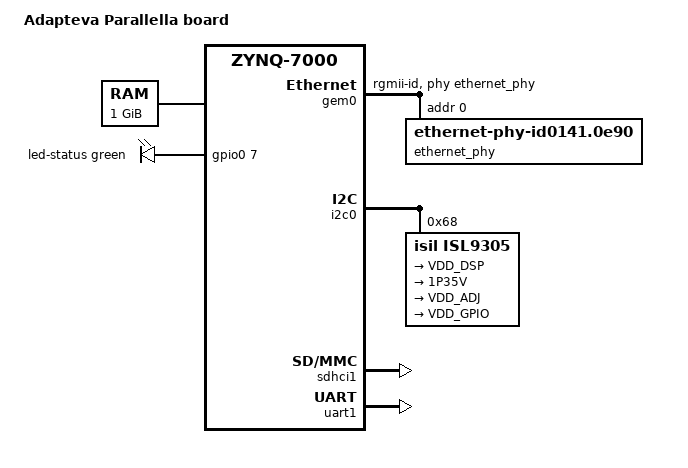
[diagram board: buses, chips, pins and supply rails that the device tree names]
// SPDX-License-Identifier: GPL-2.0
/*
 * Copyright (c) 2014 SUSE LINUX Products GmbH
 *
 * Derived from zynq-zed.dts:
 *
 *  Copyright (C) 2011 Xilinx
 *  Copyright (C) 2012 National Instruments Corp.
 *  Copyright (C) 2013 Xilinx
 */
/dts-v1/;
/include/ "zynq-7000.dtsi"

#include <dt-bindings/gpio/gpio.h>
#include <dt-bindings/leds/common.h>

/ {
	model = "Adapteva Parallella board";
	compatible = "adapteva,parallella", "xlnx,zynq-7000";

	aliases {
		ethernet0 = &gem0;
		serial0 = &uart1;
	};

	memory@0 {
		device_type = "memory";
		reg = <0x0 0x40000000>;
	};

	chosen {
		bootargs = "root=/dev/mmcblk0p2 rootfstype=ext4 rw rootwait";
		stdout-path = "serial0:115200n8";
	};

	gpio-leds {
		compatible = "gpio-leds";

		led-status {
			color = <LED_COLOR_ID_GREEN>;
			function = LED_FUNCTION_STATUS;
			gpios = <&gpio0 7 GPIO_ACTIVE_HIGH>;
		};
	};
};

&clkc {
	fclk-enable = <0xf>;
	ps-clk-frequency = <33333333>;
};

&gem0 {
	status = "okay";
	phy-mode = "rgmii-id";
	phy-handle = <&ethernet_phy>;

	ethernet_phy: ethernet-phy@0 {
		/* Marvell 88E1318 */
		compatible = "ethernet-phy-id0141.0e90",
		             "ethernet-phy-ieee802.3-c22";
		reg = <0>;
		marvell,reg-init = <0x3 0x10 0xff00 0x1e>,
		                   <0x3 0x11 0xfff0 0xa>;

		leds {
			#address-cells = <1>;
			#size-cells = <0>;

			led@0 {
				reg = <0>;
				color = <LED_COLOR_ID_GREEN>;
				function = LED_FUNCTION_LAN;
				linux,default-trigger = "netdev";
				default-state = "keep";
			};

			led@1 {
				reg = <1>;
				color = <LED_COLOR_ID_AMBER>;
				function = LED_FUNCTION_LAN;
				linux,default-trigger = "netdev";
				default-state = "keep";
			};
		};
	};
};

&i2c0 {
	status = "okay";

	isl9305: isl9305@68 {
		compatible = "isil,isl9305";
		reg = <0x68>;

		regulators {
			dcd1 {
				regulator-name = "VDD_DSP";
				regulator-always-on;
			};
			dcd2 {
				regulator-name = "1P35V";
				regulator-always-on;
			};
			ldo1 {
				regulator-name = "VDD_ADJ";
			};
			ldo2 {
				regulator-name = "VDD_GPIO";
				regulator-always-on;
			};
		};
	};
};

&sdhci1 {
	status = "okay";
};

&uart1 {
	status = "okay";
};
